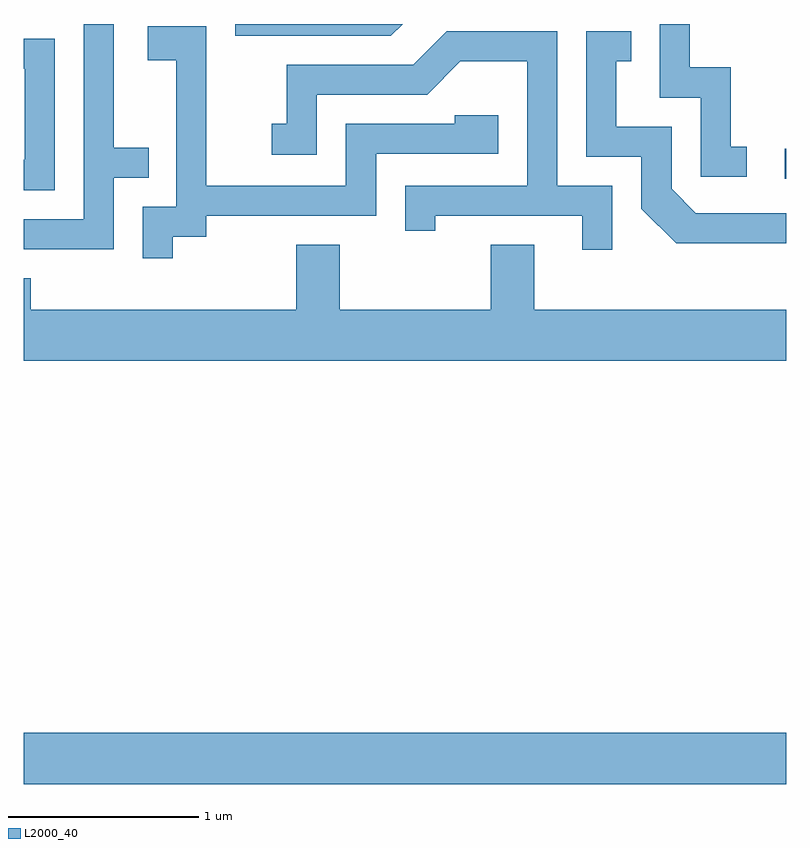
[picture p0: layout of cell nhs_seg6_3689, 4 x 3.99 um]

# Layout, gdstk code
import gdstk
lib = gdstk.Library(unit=1e-6, precision=1e-09)
def R(c, l, rs):  # rectangles x0, y0, x1, y1
    for r in rs: c.add(gdstk.rectangle(r[:2], r[2:], *l))
def P(c, l, *ps):  # polygons
    for p in ps: c.add(gdstk.Polygon(p, *l))
L2000_40 = (2000, 40)

nhs_seg6_3689 = lib.new_cell('nhs_seg6_3689')
R(nhs_seg6_3689, L2000_40, [(295.611,1632.176,299.611,1632.444), (299.603,1635.351,299.611,1635.509)])
P(nhs_seg6_3689, L2000_40, [(296.084,1635.356),(296.268,1635.356),(296.268,1635.514),(296.084,1635.514),(296.084,1636.162),(295.926,1636.162),(295.926,1635.139),(295.611,1635.139),(295.611,1634.981),(296.084,1634.981)],
  [(297.598,1636.162),(296.721,1636.162),(296.721,1636.101),(297.537,1636.101)],
  [(299.403,1635.519),(299.319,1635.519),(299.319,1635.934),(299.104,1635.934),(299.104,1636.162),(298.946,1636.162),(298.946,1635.776),(299.161,1635.776),(299.161,1635.361),(299.403,1635.361)],
  [(296.394,1635.046),(296.569,1635.046),(296.569,1635.156),(297.459,1635.156),(297.459,1635.481),(298.099,1635.481),(298.099,1635.684),(297.871,1635.684),(297.871,1635.639),(297.301,1635.639),(297.301,1635.314),(296.569,1635.314),(296.569,1636.149),(296.261,1636.149),(296.261,1635.971),(296.411,1635.971),(296.411,1635.204),(296.236,1635.204),(296.236,1634.933),(296.394,1634.933)],
  [(298.699,1635.314),(298.409,1635.314),(298.409,1636.124),(297.829,1636.124),(297.654,1635.949),(296.991,1635.949),(296.991,1635.639),(296.913,1635.639),(296.913,1635.476),(297.149,1635.476),(297.149,1635.791),(297.727,1635.791),(297.902,1635.966),(298.251,1635.966),(298.251,1635.314),(297.611,1635.314),(297.611,1635.078),(297.769,1635.078),(297.769,1635.156),(298.541,1635.156),(298.541,1634.978),(298.699,1634.978)],
  [(299.611,1635.169),(299.137,1635.169),(299.009,1635.297),(299.009,1635.624),(298.719,1635.624),(298.719,1635.966),(298.798,1635.966),(298.798,1636.124),(298.561,1636.124),(298.561,1635.466),(298.851,1635.466),(298.851,1635.194),(299.034,1635.011),(299.611,1635.011)],
  [(295.774,1636.084),(295.611,1636.084),(295.611,1635.926),(295.616,1635.926),(295.616,1635.449),(295.611,1635.449),(295.611,1635.291),(295.774,1635.291)],
  [(299.611,1634.664),(298.289,1634.664),(298.289,1635.004),(298.061,1635.004),(298.061,1634.664),(297.269,1634.664),(297.269,1635.004),(297.041,1635.004),(297.041,1634.664),(295.649,1634.664),(295.649,1634.829),(295.611,1634.829),(295.611,1634.396),(299.611,1634.396)])

lib.write_gds('nhs_seg6_3689.gds')
